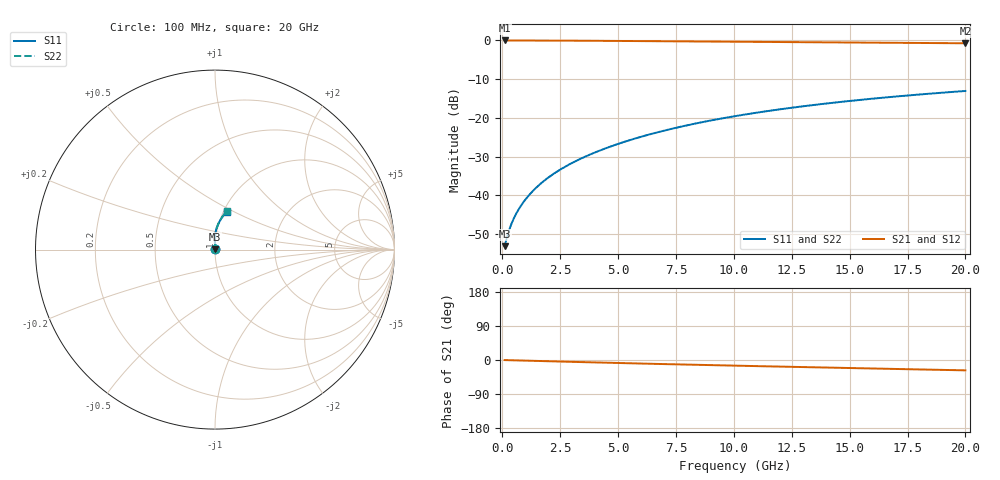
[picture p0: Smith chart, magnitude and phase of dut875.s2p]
! Touchstone file exported from HFSS 2024.1.0
!  File:  C:/UserFiles/LocalFiles/RDL_TSV_Batchsim/temp_RDL_top_875_1779856578.aedt
!  Generated:  12:38:29 PM May 27, 2026
!  Design:  RDL_top
!  Project:  temp_RDL_top_875_1779856578
!  Setup:  Setup1
!  Solution:  Sweep
! Variables:
!  dtsv = 10.80580581um
!  hbump = 3um
!  htsv = 78.45um
!  ldown = 100um
!  lrdl = 405.51um
!  p = 40
!  p1 = 45.45um
!  rhole = 1um
!  t = 450um
!  tdown = 3.915915916um
!  trdl = 3.2um
!  wdown = 15.38538539um
!  wrdl = 26.68um
# GHz S MA R 50.000000
! Terminal data exported
! Port[1] = Box2_T1
! Port[2] = Box2_T2
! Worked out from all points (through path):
!   200 points, 100 MHz to 20 GHz, reference 50 ohm
!   highest |S21| = -0.02 dB at 100 MHz (marker M1); lowest = -0.7 dB at 20 GHz (marker M2)
!   group delay of S21, straight-line fit = 3.74 ps
!   lowest |S11| = -53.1 dB at 100 MHz (marker M3), VSWR 1.00, Z = 50.2 + j0.102 ohm
!   |S11| at or under -10 dB: start of sweep to end of sweep
!   |S22| runs from -53.1 to -13.1 dB; largest |S21 - S12| = 2.1e-15
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0.1  0.002204 27.5  0.998 -0.2  0.998 -0.2  0.002204 27.5
! Gamma 0 0 0 0
! Port Impedance 50 0 50 0
0.2  0.002858 43.5  0.9979 -0.3  0.9979 -0.3  0.002858 43.5
0.3  0.003588 52.3  0.9977 -0.5  0.9977 -0.5  0.003588 52.3
0.4  0.00432 58.1  0.9976 -0.7  0.9976 -0.7  0.00432 58.1
0.5  0.00505 62.4  0.9974 -0.8  0.9974 -0.8  0.00505 62.4
0.6  0.005785 65.8  0.9973 -1.0  0.9973 -1.0  0.005785 65.8
0.8  0.007283 71.0  0.997 -1.3  0.997 -1.3  0.007283 71.0
1  0.008825 74.7  0.9968 -1.7  0.9968 -1.7  0.008825 74.7
1.2  0.01041 77.5  0.9965 -2.0  0.9965 -2.0  0.01041 77.5
1.7  0.01451 82.3  0.9955 -2.8  0.9955 -2.8  0.01451 82.3
2.2  0.01879 85.3  0.9944 -3.6  0.9944 -3.6  0.01879 85.3
2.8  0.02416 87.6  0.9927 -4.6  0.9927 -4.6  0.02417 87.6
3.5  0.03077 89.4  0.9903 -5.6  0.9903 -5.6  0.03077 89.4
4.2  0.03772 90.5  0.9876 -6.7  0.9876 -6.7  0.03773 90.5
5  0.04608 91.0  0.9842 -7.9  0.9842 -7.9  0.04609 91.1
6.8  0.06619 90.8  0.9758 -10.5  0.9758 -10.5  0.06621 90.8
8.4  0.08513 89.4  0.9682 -12.7  0.9682 -12.7  0.08516 89.4
10.1  0.1058 87.3  0.9603 -15.0  0.9603 -15.0  0.1058 87.3
11.7  0.1254 85.0  0.953 -17.1  0.953 -17.1  0.1254 85.0
13.4  0.146 82.5  0.9456 -19.2  0.9456 -19.2  0.1461 82.5
16.7  0.1851 77.5  0.9316 -23.3  0.9316 -23.3  0.1852 77.5
20  0.2223 72.7  0.918 -27.3  0.918 -27.3  0.2224 72.7
